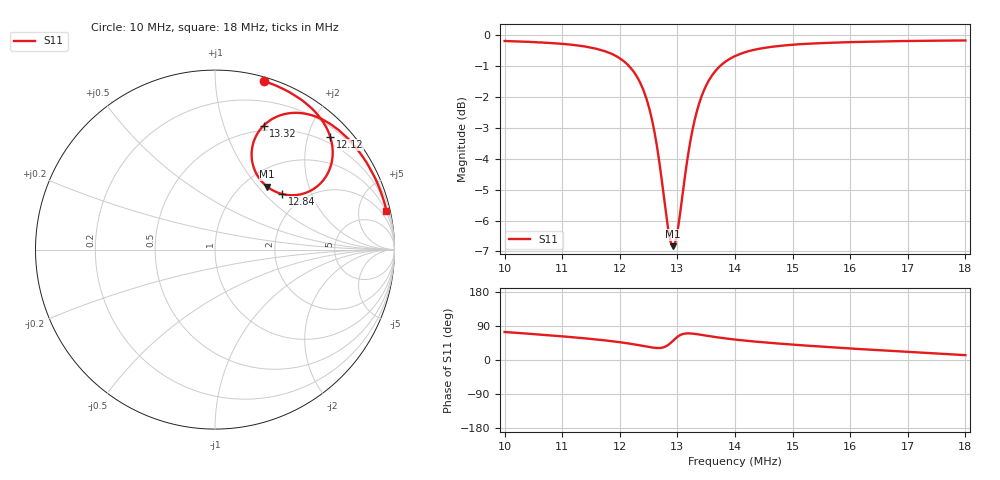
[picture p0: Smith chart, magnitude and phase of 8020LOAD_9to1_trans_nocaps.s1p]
!File created by NanoVNA
# Hz S RI R 50
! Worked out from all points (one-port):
!   401 points, 10 MHz to 18 MHz, reference 50 ohm
!   lowest |S11| = -6.8 dB at 12.92 MHz (marker M1), VSWR 2.67, Z = 63.3 + j56 ohm
!   |S11| at or under -10 dB: nowhere
!   S11 on the Smith chart (normalised r, x): 10 MHz: 0.03, +1.33; 12.12 MHz: 0.37, +2.40; 12.84 MHz: 1.56, +1.27; 13.32 MHz: 0.45, +1.37; 18 MHz: 0.83, +8.84
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1e7  0.2707 0.9393
1.046e7  0.3517 0.9081
1.1e7  0.4478 0.8574
1.158e7  0.553 0.7728
1.2e7  0.6253 0.67
1.212e7  0.642 0.6282
1.236e7  0.655 0.5174
1.246e7  0.6427 0.4592
1.254e7  0.6193 0.4092
1.264e7  0.5657 0.3496
1.272e7  0.5 0.3142
1.278e7  0.4391 0.3029
1.284e7  0.3731 0.3097
1.292e7  0.2906 0.3508
1.3e7  0.2314 0.4209
1.306e7  0.2087 0.4826
1.314e7  0.2063 0.5627
1.324e7  0.2348 0.644
1.332e7  0.2707 0.6905
1.344e7  0.3302 0.734
1.358e7  0.3958 0.757
1.376e7  0.4678 0.7617
1.4e7  0.5438 0.7473
1.444e7  0.6436 0.6991
1.5e7  0.7321 0.6272
1.6e7  0.8385 0.4935
1.7e7  0.9105 0.3556
1.8e7  0.9551 0.2169
